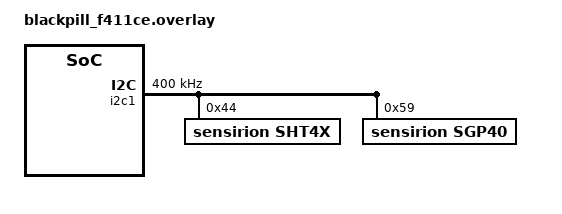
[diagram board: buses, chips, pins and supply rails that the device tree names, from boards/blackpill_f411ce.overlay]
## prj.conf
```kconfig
CONFIG_CBPRINTF_FP_SUPPORT=y
CONFIG_I2C=y
CONFIG_SENSOR=y
CONFIG_PM_DEVICE=y

CONFIG_LOG=y
CONFIG_SENSOR_LOG_LEVEL_DBG=y
```

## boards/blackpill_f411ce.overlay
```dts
/*
 * Copyright (c) 2021 Leonard Pollak
 *
 * SPDX-License-Identifier: Apache-2.0
 */

&i2c1 {
	status = "okay";
	clock-frequency = <I2C_BITRATE_FAST>;
	sht4x@44 {
		status = "okay";
		compatible = "sensirion,sht4x";
		reg = <0x44>;
		repeatability = <2>;
	};
	sgp40@59 {
		status = "okay";
		compatible = "sensirion,sgp40";
		reg = <0x59>;
		enable-selftest;
	};
};
```

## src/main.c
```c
/*
 * Copyright (c) 2021 Leonard Pollak
 *
 * SPDX-License-Identifier: Apache-2.0
 */

#include <zephyr/kernel.h>
#include <zephyr/device.h>
#include <zephyr/drivers/sensor.h>
#include <stdio.h>

#include <zephyr/drivers/sensor/sgp40.h>
#include <zephyr/drivers/sensor/sht4x.h>

#if !DT_HAS_COMPAT_STATUS_OKAY(sensirion_sgp40)
#error "No sensirion,sgp40 compatible node found in the device tree"
#endif

#if !DT_HAS_COMPAT_STATUS_OKAY(sensirion_sht4x)
#error "No sensirion,sht4x compatible node found in the device tree"
#endif

int main(void)
{

#if CONFIG_APP_USE_COMPENSATION
	struct sensor_value comp_t;
	struct sensor_value comp_rh;
#endif
	const struct device *const sht = DEVICE_DT_GET_ANY(sensirion_sht4x);
	const struct device *const sgp = DEVICE_DT_GET_ANY(sensirion_sgp40);
	struct sensor_value temp, hum, gas;

	if (!device_is_ready(sht)) {
		printf("Device %s is not ready.\n", sht->name);
		return 0;
	}

	if (!device_is_ready(sgp)) {
		printf("Device %s is not ready.\n", sgp->name);
		return 0;
	}

#if CONFIG_APP_USE_HEATER
	struct sensor_value heater_p;
	struct sensor_value heater_d;

	heater_p.val1 = CONFIG_APP_HEATER_PULSE_POWER;
	heater_d.val1 = CONFIG_APP_HEATER_PULSE_DURATION;
	sensor_attr_set(sht, SENSOR_CHAN_ALL,
			SENSOR_ATTR_SHT4X_HEATER_POWER, &heater_p);
	sensor_attr_set(sht, SENSOR_CHAN_ALL,
			SENSOR_ATTR_SHT4X_HEATER_DURATION, &heater_d);
#endif

	while (true) {

		if (sensor_sample_fetch(sht)) {
			printf("Failed to fetch sample from SHT4X device\n");
			return 0;
		}

		sensor_channel_get(sht, SENSOR_CHAN_AMBIENT_TEMP, &temp);
		sensor_channel_get(sht, SENSOR_CHAN_HUMIDITY, &hum);
#if CONFIG_APP_USE_HEATER
		/*
		 * Conditions in which it makes sense to activate the heater
		 * are application/environment specific.
		 *
		 * The heater should not be used above SHT4X_HEATER_MAX_TEMP (65 °C)
		 * as stated in the datasheet.
		 *
		 * The temperature data will not be updated here for obvious reasons.
		 **/
		if (hum.val1 > CONFIG_APP_HEATER_HUMIDITY_THRESH &&
				temp.val1 < SHT4X_HEATER_MAX_TEMP) {
			printf("Activating heater.\n");

			if (sht4x_fetch_with_heater(sht)) {
				printf("Failed to fetch sample from SHT4X device\n");
				return 0;
			}

			sensor_channel_get(sht, SENSOR_CHAN_HUMIDITY, &hum);
		}
#endif

#if CONFIG_APP_USE_COMPENSATION
		comp_t.val1 = temp.val1; /* Temp [°C] */
		comp_rh.val1 = hum.val1; /* RH [%] */
		sensor_attr_set(sgp,
				SENSOR_CHAN_GAS_RES,
				SENSOR_ATTR_SGP40_TEMPERATURE,
				&comp_t);
		sensor_attr_set(sgp,
				SENSOR_CHAN_GAS_RES,
				SENSOR_ATTR_SGP40_HUMIDITY,
				&comp_rh);
#endif
		if (sensor_sample_fetch(sgp)) {
			printf("Failed to fetch sample from SGP40 device.\n");
			return 0;
		}

		sensor_channel_get(sgp, SENSOR_CHAN_GAS_RES, &gas);

		printf("SHT4X: %.2f Temp. [C] ; %0.2f RH [%%] -- SGP40: %d Gas [a.u.]\n",
		       sensor_value_to_double(&temp),
		       sensor_value_to_double(&hum),
		       gas.val1);

		/* Maximum duty cycle for using the heater is 5% */
#if CONFIG_APP_USE_HEATER && CONFIG_APP_HEATER_PULSE_DURATION == 0
		k_sleep(K_MSEC(20000));
#else
		k_sleep(K_MSEC(2000));
#endif
	}
}
```
